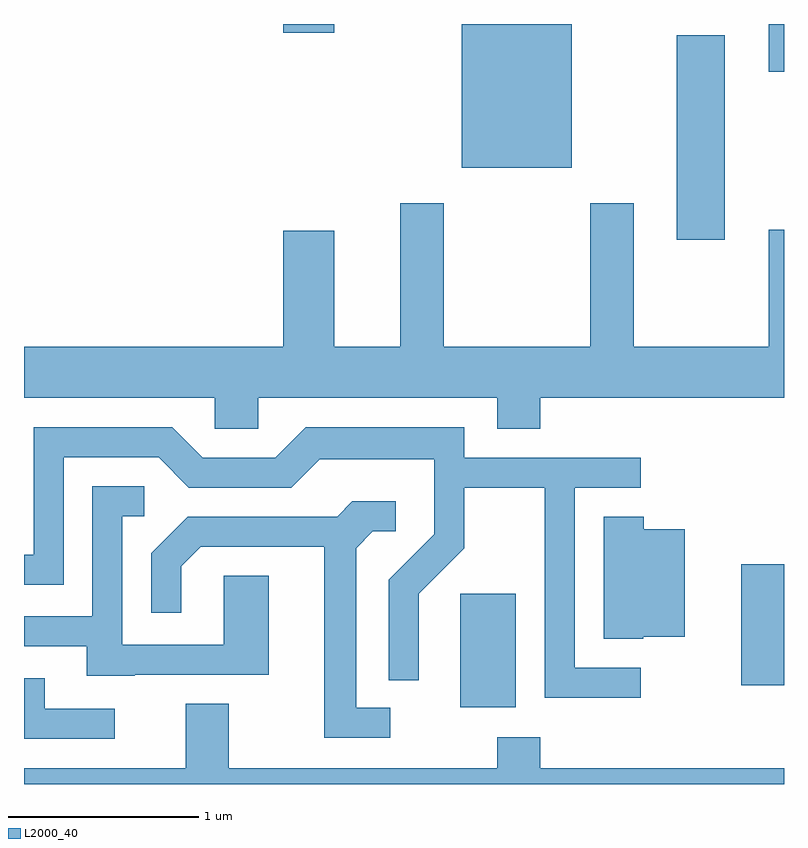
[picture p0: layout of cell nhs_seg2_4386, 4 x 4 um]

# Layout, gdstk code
import gdstk
lib = gdstk.Library(unit=1e-6, precision=1e-09)
def R(c, l, rs):  # rectangles x0, y0, x1, y1
    for r in rs: c.add(gdstk.rectangle(r[:2], r[2:], *l))
def P(c, l, *ps):  # polygons
    for p in ps: c.add(gdstk.Polygon(p, *l))
L2000_40 = (2000, 40)

nhs_seg2_4386 = lib.new_cell('nhs_seg2_4386')
R(nhs_seg2_4386, L2000_40, [(315.906,1082.206,316.199,1082.804), (317.386,1082.321,317.611,1082.959), (317.046,1084.666,317.299,1085.744), (315.916,1085.046,316.494,1085.802), (317.531,1085.551,317.611,1085.802), (314.976,1085.756,315.244,1085.802)])
P(nhs_seg2_4386, L2000_40, [(314.844,1083.836),(316.101,1083.836),(316.101,1083.671),(316.329,1083.671),(316.329,1083.836),(317.611,1083.836),(317.611,1084.719),(317.531,1084.719),(317.531,1084.104),(316.819,1084.104),(316.819,1084.859),(316.591,1084.859),(316.591,1084.104),(315.819,1084.104),(315.819,1084.859),(315.591,1084.859),(315.591,1084.104),(315.244,1084.104),(315.244,1084.714),(314.976,1084.714),(314.976,1084.104),(313.611,1084.104),(313.611,1083.836),(314.616,1083.836),(314.616,1083.671),(314.844,1083.671)],
  [(316.858,1082.414),(316.509,1082.414),(316.509,1083.361),(316.858,1083.361),(316.858,1083.519),(315.929,1083.519),(315.929,1083.679),(315.094,1083.679),(314.934,1083.519),(314.552,1083.519),(314.392,1083.679),(313.661,1083.679),(313.661,1083.009),(313.611,1083.009),(313.611,1082.851),(313.819,1082.851),(313.819,1083.521),(314.319,1083.521),(314.479,1083.361),(315.017,1083.361),(315.167,1083.511),(315.771,1083.511),(315.771,1083.117),(315.531,1082.877),(315.531,1082.348),(315.689,1082.348),(315.689,1082.804),(315.929,1083.044),(315.929,1083.361),(316.351,1083.361),(316.351,1082.256),(316.858,1082.256)],
  [(314.195,1082.376),(314.899,1082.376),(314.899,1082.899),(314.661,1082.899),(314.661,1082.534),(314.129,1082.534),(314.129,1083.211),(314.243,1083.211),(314.243,1083.369),(313.971,1083.369),(313.971,1082.684),(313.611,1082.684),(313.611,1082.526),(313.941,1082.526),(313.941,1082.371),(314.195,1082.371)],
  [(315.538,1082.204),(315.359,1082.204),(315.359,1083.044),(315.447,1083.131),(315.568,1083.131),(315.568,1083.289),(315.339,1083.289),(315.259,1083.209),(314.474,1083.209),(314.281,1083.017),(314.281,1082.703),(314.439,1082.703),(314.439,1082.949),(314.542,1083.051),(315.191,1083.051),(315.191,1082.046),(315.538,1082.046)],
  [(316.87,1082.576),(317.089,1082.576),(317.089,1083.144),(316.874,1083.144),(316.874,1083.209),(316.661,1083.209),(316.661,1082.566),(316.87,1082.566)],
  [(314.088,1082.199),(313.719,1082.199),(313.719,1082.359),(313.611,1082.359),(313.611,1082.041),(314.088,1082.041)],
  [(317.611,1081.884),(316.329,1081.884),(316.329,1082.049),(316.101,1082.049),(316.101,1081.884),(314.689,1081.884),(314.689,1082.224),(314.461,1082.224),(314.461,1081.884),(313.611,1081.884),(313.611,1081.802),(317.611,1081.802)])

lib.write_gds('nhs_seg2_4386.gds')
